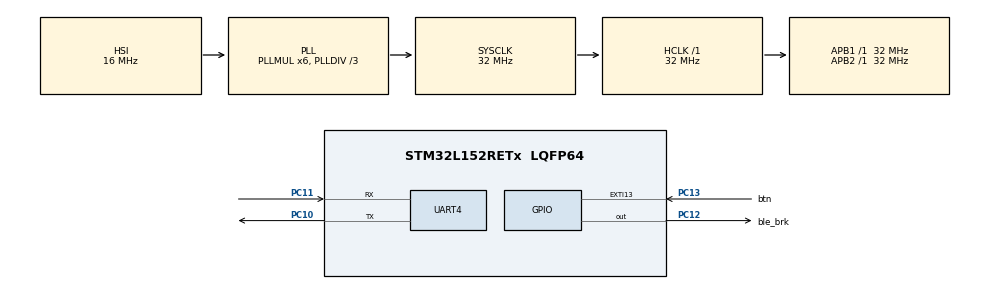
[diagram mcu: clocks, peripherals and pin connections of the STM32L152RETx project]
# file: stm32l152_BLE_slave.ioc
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Dma.Request0=UART4_RX
Dma.UART4_RX.0.Direction=DMA_PERIPH_TO_MEMORY
Dma.UART4_RX.0.Instance=DMA2_Channel3
Dma.UART4_RX.0.MemDataAlignment=DMA_MDATAALIGN_BYTE
Dma.UART4_RX.0.MemInc=DMA_MINC_ENABLE
Dma.UART4_RX.0.Mode=DMA_NORMAL
Dma.UART4_RX.0.PeriphDataAlignment=DMA_PDATAALIGN_BYTE
Dma.UART4_RX.0.PeriphInc=DMA_PINC_DISABLE
Dma.UART4_RX.0.Priority=DMA_PRIORITY_VERY_HIGH
Mcu.Family=STM32L1
Mcu.Name=STM32L152RETx
Mcu.Package=LQFP64
NVIC.DMA2_Channel3_IRQn=true\:1\:0\:true\:false\:true\:false\:true\:true
NVIC.EXTI15_10_IRQn=true\:0\:0\:false\:false\:true\:true\:true\:true
NVIC.PriorityGroup=NVIC_PRIORITYGROUP_4
NVIC.TIM2_IRQn=true\:0\:0\:false\:false\:true\:true\:true\:true
NVIC.TIM4_IRQn=true\:2\:0\:true\:false\:true\:true\:true\:true
NVIC.UART4_IRQn=true\:0\:0\:true\:false\:true\:true\:true\:true
PA13.Mode=Serial_Wire
PA13.Signal=SYS_JTMS-SWDIO
PA14.Mode=Serial_Wire
PA14.Signal=SYS_JTCK-SWCLK
PC10.Mode=Asynchronous
PC10.Signal=UART4_TX
PC11.Mode=Asynchronous
PC11.Signal=UART4_RX
PC12.GPIO_Label=ble_brk
PC12.Signal=GPIO_Output
PC13-WKUP2.GPIO_Label=btn
PC13-WKUP2.GPIO_PuPd=GPIO_PULLUP
PC13-WKUP2.Signal=GPXTI13
ProjectManager.HeapSize=0x200
ProjectManager.StackSize=0x800
ProjectManager.TargetToolchain=STM32CubeIDE
RCC.48MHZClocksFreq_Value=48000000
RCC.AHBFreq_Value=32000000
RCC.APB1Freq_Value=32000000
RCC.APB1TimFreq_Value=32000000
RCC.APB2Freq_Value=32000000
RCC.APB2TimFreq_Value=32000000
RCC.HCLKFreq_Value=32000000
RCC.HSE_VALUE=8000000
RCC.HSI_VALUE=16000000
RCC.LSE_VALUE=32768
RCC.MSI_VALUE=2097000
RCC.PLLDIV=RCC_PLL_DIV3
RCC.PLLMUL=RCC_PLL_MUL6
RCC.SYSCLKFreq_VALUE=32000000
RCC.SYSCLKSource=RCC_SYSCLKSOURCE_PLLCLK
RCC.VCOOutputFreq_Value=96000000
TIM2.Period=65535
TIM2.Prescaler=31
TIM4.Period=2000
TIM4.Prescaler=31999
UART4.VirtualMode=Asynchronous
VP_TIM2_VS_ClockSourceINT.Mode=Internal
VP_TIM4_VS_ClockSourceINT.Mode=Internal
board=custom

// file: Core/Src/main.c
/* USER CODE BEGIN Header */
/**
  ******************************************************************************
  * @file           : main.c
  * @brief          : Main program body
  ******************************************************************************
  * @attention
  *
  * Copyright (c) 2024 STMicroelectronics.
  * All rights reserved.
  *
  * This software is licensed under terms that can be found in the LICENSE file
  * in the root directory of this software component.
  * If no LICENSE file comes with this software, it is provided AS-IS.
  *
  ******************************************************************************
  */
/* USER CODE END Header */
#include "main.h"

/* USER CODE BEGIN Includes */
#include <string.h>
#include "HM-10/recieveData.h"
#include "HM-10/HM10_Setup.h"
#include "st7789/st7789_Views/st7789_Data_Views.h"
/* USER CODE END Includes */

TIM_HandleTypeDef htim2;
TIM_HandleTypeDef htim4;

UART_HandleTypeDef huart4;
DMA_HandleTypeDef hdma_uart4_rx;

/* USER CODE BEGIN PV */
uint8_t isConnected = 0;
volatile uint8_t isRSSI = 0;

char temp[10] = {'\0'};
char rssi[10] = {'\0'};
/* USER CODE END PV */

void SystemClock_Config(void);
static void MX_GPIO_Init(void);
static void MX_DMA_Init(void);
static void MX_TIM2_Init(void);
static void MX_UART4_Init(void);
static void MX_TIM4_Init(void);

int main(void)
{

  /* MCU Configuration--------------------------------------------------------*/

  /* Reset of all peripherals, Initializes the Flash interface and the Systick. */
  HAL_Init();

  /* Configure the system clock */
  SystemClock_Config();

  /* Initialize all configured peripherals */
  MX_GPIO_Init();
  MX_DMA_Init();
  MX_TIM2_Init();
  MX_UART4_Init();
  MX_TIM4_Init();
  /* USER CODE BEGIN 2 */
  HAL_TIM_Base_Start(&htim2);

  CMSIS_GPIO_init();
  CMSIS_SPI1_init();
  st7789_init();

  st7789_DrawStartScreen();

  if (setupSlave(&huart4, ble_brk_GPIO_Port, ble_brk_Pin) != OK) {
	  st7789_DrawErrScreen();
	  return HM10_ERROR;
  }

  st7789_DrawDataScreen();

  HAL_TIM_Base_Stop(&htim2);

  HAL_UARTEx_ReceiveToIdle_DMA(&huart4, rxBuf, rxBuf_SIZE);
  __HAL_DMA_DISABLE_IT(&hdma_uart4_rx, DMA_IT_HT);

  HAL_TIM_Base_Start_IT(&htim4);

  /* USER CODE END 2 */

  /* Infinite loop */
  while (1)
  {

  }
}

void SystemClock_Config(void)
{
  RCC_OscInitTypeDef RCC_OscInitStruct = {0};
  RCC_ClkInitTypeDef RCC_ClkInitStruct = {0};

  /** Configure the main internal regulator output voltage
  */
  __HAL_PWR_VOLTAGESCALING_CONFIG(PWR_REGULATOR_VOLTAGE_SCALE1);

  /** Initializes the RCC Oscillators according to the specified parameters
  * in the RCC_OscInitTypeDef structure.
  */
  RCC_OscInitStruct.OscillatorType = RCC_OSCILLATORTYPE_HSI;
  RCC_OscInitStruct.HSIState = RCC_HSI_ON;
  RCC_OscInitStruct.HSICalibrationValue = RCC_HSICALIBRATION_DEFAULT;
  RCC_OscInitStruct.PLL.PLLState = RCC_PLL_ON;
  RCC_OscInitStruct.PLL.PLLSource = RCC_PLLSOURCE_HSI;
  RCC_OscInitStruct.PLL.PLLMUL = RCC_PLL_MUL6;
  RCC_OscInitStruct.PLL.PLLDIV = RCC_PLL_DIV3;
  if (HAL_RCC_OscConfig(&RCC_OscInitStruct) != HAL_OK)
  {
    Error_Handler();
  }

  /** Initializes the CPU, AHB and APB buses clocks
  */
  RCC_ClkInitStruct.ClockType = RCC_CLOCKTYPE_HCLK|RCC_CLOCKTYPE_SYSCLK
                              |RCC_CLOCKTYPE_PCLK1|RCC_CLOCKTYPE_PCLK2;
  RCC_ClkInitStruct.SYSCLKSource = RCC_SYSCLKSOURCE_PLLCLK;
  RCC_ClkInitStruct.AHBCLKDivider = RCC_SYSCLK_DIV1;
  RCC_ClkInitStruct.APB1CLKDivider = RCC_HCLK_DIV1;
  RCC_ClkInitStruct.APB2CLKDivider = RCC_HCLK_DIV1;

  if (HAL_RCC_ClockConfig(&RCC_ClkInitStruct, FLASH_LATENCY_1) != HAL_OK)
  {
    Error_Handler();
  }
}

static void MX_TIM2_Init(void)
{

  TIM_ClockConfigTypeDef sClockSourceConfig = {0};
  TIM_MasterConfigTypeDef sMasterConfig = {0};

  htim2.Instance = TIM2;
  htim2.Init.Prescaler = 31;
  htim2.Init.CounterMode = TIM_COUNTERMODE_UP;
  htim2.Init.Period = 65535;
  htim2.Init.ClockDivision = TIM_CLOCKDIVISION_DIV1;
  htim2.Init.AutoReloadPreload = TIM_AUTORELOAD_PRELOAD_DISABLE;
  if (HAL_TIM_Base_Init(&htim2) != HAL_OK)
  {
    Error_Handler();
  }
  sClockSourceConfig.ClockSource = TIM_CLOCKSOURCE_INTERNAL;
  if (HAL_TIM_ConfigClockSource(&htim2, &sClockSourceConfig) != HAL_OK)
  {
    Error_Handler();
  }
  sMasterConfig.MasterOutputTrigger = TIM_TRGO_RESET;
  sMasterConfig.MasterSlaveMode = TIM_MASTERSLAVEMODE_DISABLE;
  if (HAL_TIMEx_MasterConfigSynchronization(&htim2, &sMasterConfig) != HAL_OK)
  {
    Error_Handler();
  }

}

static void MX_TIM4_Init(void)
{

  TIM_ClockConfigTypeDef sClockSourceConfig = {0};
  TIM_MasterConfigTypeDef sMasterConfig = {0};

  htim4.Instance = TIM4;
  htim4.Init.Prescaler = 31999;
  htim4.Init.CounterMode = TIM_COUNTERMODE_UP;
  htim4.Init.Period = 2000;
  htim4.Init.ClockDivision = TIM_CLOCKDIVISION_DIV1;
  htim4.Init.AutoReloadPreload = TIM_AUTORELOAD_PRELOAD_DISABLE;
  if (HAL_TIM_Base_Init(&htim4) != HAL_OK)
  {
    Error_Handler();
  }
  sClockSourceConfig.ClockSource = TIM_CLOCKSOURCE_INTERNAL;
  if (HAL_TIM_ConfigClockSource(&htim4, &sClockSourceConfig) != HAL_OK)
  {
    Error_Handler();
  }
  sMasterConfig.MasterOutputTrigger = TIM_TRGO_RESET;
  sMasterConfig.MasterSlaveMode = TIM_MASTERSLAVEMODE_DISABLE;
  if (HAL_TIMEx_MasterConfigSynchronization(&htim4, &sMasterConfig) != HAL_OK)
  {
    Error_Handler();
  }

}

static void MX_UART4_Init(void)
{

  huart4.Instance = UART4;
  huart4.Init.BaudRate = 115200;
  huart4.Init.WordLength = UART_WORDLENGTH_8B;
  huart4.Init.StopBits = UART_STOPBITS_1;
  huart4.Init.Parity = UART_PARITY_NONE;
  huart4.Init.Mode = UART_MODE_TX_RX;
  huart4.Init.HwFlowCtl = UART_HWCONTROL_NONE;
  huart4.Init.OverSampling = UART_OVERSAMPLING_16;
  if (HAL_UART_Init(&huart4) != HAL_OK)
  {
    Error_Handler();
  }

}

static void MX_DMA_Init(void)
{

  /* DMA controller clock enable */
  __HAL_RCC_DMA2_CLK_ENABLE();

  /* DMA interrupt init */
  /* DMA2_Channel3_IRQn interrupt configuration */
  HAL_NVIC_SetPriority(DMA2_Channel3_IRQn, 1, 0);
  HAL_NVIC_EnableIRQ(DMA2_Channel3_IRQn);

}

static void MX_GPIO_Init(void)
{
  GPIO_InitTypeDef GPIO_InitStruct = {0};

  /* GPIO Ports Clock Enable */
  __HAL_RCC_GPIOC_CLK_ENABLE();
  __HAL_RCC_GPIOA_CLK_ENABLE();

  /*Configure GPIO pin Output Level */
  HAL_GPIO_WritePin(ble_brk_GPIO_Port, ble_brk_Pin, GPIO_PIN_RESET);

  /*Configure GPIO pin : btn_Pin */
  GPIO_InitStruct.Pin = btn_Pin;
  GPIO_InitStruct.Mode = GPIO_MODE_IT_RISING;
  GPIO_InitStruct.Pull = GPIO_PULLUP;
  HAL_GPIO_Init(btn_GPIO_Port, &GPIO_InitStruct);

  /*Configure GPIO pin : ble_brk_Pin */
  GPIO_InitStruct.Pin = ble_brk_Pin;
  GPIO_InitStruct.Mode = GPIO_MODE_OUTPUT_PP;
  GPIO_InitStruct.Pull = GPIO_NOPULL;
  GPIO_InitStruct.Speed = GPIO_SPEED_FREQ_LOW;
  HAL_GPIO_Init(ble_brk_GPIO_Port, &GPIO_InitStruct);

  /* EXTI interrupt init*/
  HAL_NVIC_SetPriority(EXTI15_10_IRQn, 0, 0);
  HAL_NVIC_EnableIRQ(EXTI15_10_IRQn);

}

/* USER CODE BEGIN 4 */
void HAL_UARTEx_RxEventCallback(UART_HandleTypeDef *huart, uint16_t Size) {
	if (huart==&huart4) {
		UART4_RxCpltCallback(huart, Size);
	}
}

void HAL_TIM_PeriodElapsedCallback(TIM_HandleTypeDef *htim) {
	if(htim==&htim4) {
		if (isConnected) {
			if (isRSSI == 0) {
				HAL_UART_Transmit(&huart4, getCommand(RSSI_GET), strlen((char *) getCommand(RSSI_GET)), 0xFFFF);
			}
		}
	}
}

void HAL_GPIO_EXTI_Callback(uint16_t GPIO_Pin) {
	if(GPIO_Pin == btn_Pin) {
		checkConnection(&huart4);
	}
}

/* USER CODE END 4 */

void Error_Handler(void)
{
  __disable_irq();
  while (1)
  {
  }
}
